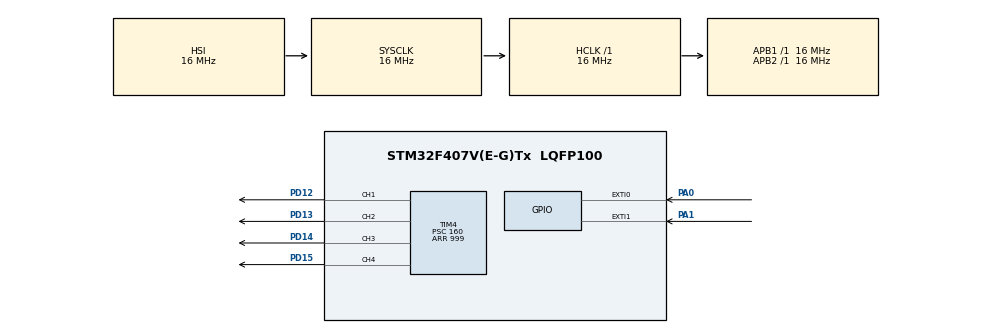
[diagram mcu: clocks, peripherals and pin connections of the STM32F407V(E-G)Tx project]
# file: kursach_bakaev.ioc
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Mcu.Family=STM32F4
Mcu.Name=STM32F407V(E-G)Tx
Mcu.Package=LQFP100
NVIC.PriorityGroup=NVIC_PRIORITYGROUP_4
PA0-WKUP.Signal=GPXTI0
PA1.Signal=GPXTI1
PA13.Mode=Serial_Wire
PA13.Signal=SYS_JTMS-SWDIO
PA14.Mode=Serial_Wire
PA14.Signal=SYS_JTCK-SWCLK
PD12.Signal=S_TIM4_CH1
PD13.Signal=S_TIM4_CH2
PD14.Signal=S_TIM4_CH3
PD15.Signal=S_TIM4_CH4
ProjectManager.HeapSize=0x200
ProjectManager.StackSize=0x400
ProjectManager.TargetToolchain=STM32CubeIDE
RCC.AHBFreq_Value=16000000
RCC.APB1Freq_Value=16000000
RCC.APB2Freq_Value=16000000
RCC.CortexFreq_Value=16000000
RCC.HSE_VALUE=25000000
RCC.HSI_VALUE=16000000
RCC.LSE_VALUE=32768
RCC.SYSCLKFreq_VALUE=16000000
RCC.VCOOutputFreq_Value=192000000
SH.S_TIM4_CH1.0=TIM4_CH1,PWM Generation1 CH1
SH.S_TIM4_CH2.0=TIM4_CH2,PWM Generation2 CH2
SH.S_TIM4_CH3.0=TIM4_CH3,PWM Generation3 CH3
SH.S_TIM4_CH4.0=TIM4_CH4,PWM Generation4 CH4
TIM4.Channel-PWM\ Generation1\ CH1=TIM_CHANNEL_1
TIM4.Channel-PWM\ Generation2\ CH2=TIM_CHANNEL_2
TIM4.Channel-PWM\ Generation3\ CH3=TIM_CHANNEL_3
TIM4.Channel-PWM\ Generation4\ CH4=TIM_CHANNEL_4
TIM4.Period=999
TIM4.Prescaler=160
VP_TIM4_VS_ClockSourceINT.Mode=Internal
board=custom

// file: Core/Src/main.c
/* USER CODE BEGIN Header */
/**
  ******************************************************************************
  * @file           : main.c
  * @brief          : Main program body
  ******************************************************************************
  * @attention
  *
  * Copyright (c) 2026 STMicroelectronics.
  * All rights reserved.
  *
  * This software is licensed under terms that can be found in the LICENSE file
  * in the root directory of this software component.
  * If no LICENSE file comes with this software, it is provided AS-IS.
  *
  ******************************************************************************
  */
/* USER CODE END Header */
#include "main.h"

/* USER CODE BEGIN Includes */
#include <stdlib.h>
/* USER CODE END Includes */

TIM_HandleTypeDef htim4;

/* USER CODE BEGIN PV */
typedef enum{
	STATE_OFF,
	STATE_BLINKING,
	STATE_PWD,
	STATE_RANDOM,
	STATE_CALC_ADD,
	STATE_CALC_SUB
}State_t;

volatile State_t current_state = STATE_OFF;
volatile uint8_t virtual_btn_next = 0; // Flag for next mode button
volatile uint8_t virtual_btn_calc = 0; // Flag for calculator mode button
volatile int8_t calc_num1 = 60;		   // First number
volatile int8_t calc_num2 = -70;	   // Second number
volatile int8_t calc_result = 0;	   // Result of calculation
/* USER CODE END PV */

void SystemClock_Config(void);
static void MX_GPIO_Init(void);
static void MX_TIM4_Init(void);
/* USER CODE BEGIN PFP */
void State_Machine(void);
void State_Off(void);
void State_Blinking(void);
void State_PWD(void);
void State_Random(void);
void State_Calc_Add(void);
void State_Calc_Sub(void);
/* USER CODE END PFP */

int main(void)
{

  /* MCU Configuration--------------------------------------------------------*/

  /* Reset of all peripherals, Initializes the Flash interface and the Systick. */
  HAL_Init();

  /* Configure the system clock */
  SystemClock_Config();

  /* Initialize all configured peripherals */
  MX_GPIO_Init();
  MX_TIM4_Init();
  /* USER CODE BEGIN 2 */

  // Start PWM for all 4 channels
  HAL_TIM_PWM_Start(&htim4, TIM_CHANNEL_1);
  HAL_TIM_PWM_Start(&htim4, TIM_CHANNEL_2);
  HAL_TIM_PWM_Start(&htim4, TIM_CHANNEL_3);
  HAL_TIM_PWM_Start(&htim4, TIM_CHANNEL_4);
  /* USER CODE END 2 */

  /* Infinite loop */
  while (1)
  {
	  State_Machine();
  }
}

void SystemClock_Config(void)
{
  RCC_OscInitTypeDef RCC_OscInitStruct = {0};
  RCC_ClkInitTypeDef RCC_ClkInitStruct = {0};

  /** Configure the main internal regulator output voltage
  */
  __HAL_RCC_PWR_CLK_ENABLE();
  __HAL_PWR_VOLTAGESCALING_CONFIG(PWR_REGULATOR_VOLTAGE_SCALE1);

  /** Initializes the RCC Oscillators according to the specified parameters
  * in the RCC_OscInitTypeDef structure.
  */
  RCC_OscInitStruct.OscillatorType = RCC_OSCILLATORTYPE_HSI;
  RCC_OscInitStruct.HSIState = RCC_HSI_ON;
  RCC_OscInitStruct.HSICalibrationValue = RCC_HSICALIBRATION_DEFAULT;
  RCC_OscInitStruct.PLL.PLLState = RCC_PLL_NONE;
  if (HAL_RCC_OscConfig(&RCC_OscInitStruct) != HAL_OK)
  {
    Error_Handler();
  }

  /** Initializes the CPU, AHB and APB buses clocks
  */
  RCC_ClkInitStruct.ClockType = RCC_CLOCKTYPE_HCLK|RCC_CLOCKTYPE_SYSCLK
                              |RCC_CLOCKTYPE_PCLK1|RCC_CLOCKTYPE_PCLK2;
  RCC_ClkInitStruct.SYSCLKSource = RCC_SYSCLKSOURCE_HSI;
  RCC_ClkInitStruct.AHBCLKDivider = RCC_SYSCLK_DIV1;
  RCC_ClkInitStruct.APB1CLKDivider = RCC_HCLK_DIV1;
  RCC_ClkInitStruct.APB2CLKDivider = RCC_HCLK_DIV1;

  if (HAL_RCC_ClockConfig(&RCC_ClkInitStruct, FLASH_LATENCY_0) != HAL_OK)
  {
    Error_Handler();
  }
}

static void MX_TIM4_Init(void)
{

  TIM_ClockConfigTypeDef sClockSourceConfig = {0};
  TIM_MasterConfigTypeDef sMasterConfig = {0};
  TIM_OC_InitTypeDef sConfigOC = {0};

  htim4.Instance = TIM4;
  htim4.Init.Prescaler = 160;
  htim4.Init.CounterMode = TIM_COUNTERMODE_UP;
  htim4.Init.Period = 999;
  htim4.Init.ClockDivision = TIM_CLOCKDIVISION_DIV1;
  htim4.Init.AutoReloadPreload = TIM_AUTORELOAD_PRELOAD_DISABLE;
  if (HAL_TIM_Base_Init(&htim4) != HAL_OK)
  {
    Error_Handler();
  }
  sClockSourceConfig.ClockSource = TIM_CLOCKSOURCE_INTERNAL;
  if (HAL_TIM_ConfigClockSource(&htim4, &sClockSourceConfig) != HAL_OK)
  {
    Error_Handler();
  }
  if (HAL_TIM_PWM_Init(&htim4) != HAL_OK)
  {
    Error_Handler();
  }
  sMasterConfig.MasterOutputTrigger = TIM_TRGO_RESET;
  sMasterConfig.MasterSlaveMode = TIM_MASTERSLAVEMODE_DISABLE;
  if (HAL_TIMEx_MasterConfigSynchronization(&htim4, &sMasterConfig) != HAL_OK)
  {
    Error_Handler();
  }
  sConfigOC.OCMode = TIM_OCMODE_PWM1;
  sConfigOC.Pulse = 0;
  sConfigOC.OCPolarity = TIM_OCPOLARITY_HIGH;
  sConfigOC.OCFastMode = TIM_OCFAST_DISABLE;
  if (HAL_TIM_PWM_ConfigChannel(&htim4, &sConfigOC, TIM_CHANNEL_1) != HAL_OK)
  {
    Error_Handler();
  }
  if (HAL_TIM_PWM_ConfigChannel(&htim4, &sConfigOC, TIM_CHANNEL_2) != HAL_OK)
  {
    Error_Handler();
  }
  if (HAL_TIM_PWM_ConfigChannel(&htim4, &sConfigOC, TIM_CHANNEL_3) != HAL_OK)
  {
    Error_Handler();
  }
  if (HAL_TIM_PWM_ConfigChannel(&htim4, &sConfigOC, TIM_CHANNEL_4) != HAL_OK)
  {
    Error_Handler();
  }
  HAL_TIM_MspPostInit(&htim4);

}

static void MX_GPIO_Init(void)
{
  GPIO_InitTypeDef GPIO_InitStruct = {0};

  /* GPIO Ports Clock Enable */
  __HAL_RCC_GPIOA_CLK_ENABLE();
  __HAL_RCC_GPIOD_CLK_ENABLE();

  /*Configure GPIO pins : PA0 PA1 */
  GPIO_InitStruct.Pin = GPIO_PIN_0|GPIO_PIN_1;
  GPIO_InitStruct.Mode = GPIO_MODE_IT_RISING;
  GPIO_InitStruct.Pull = GPIO_NOPULL;
  HAL_GPIO_Init(GPIOA, &GPIO_InitStruct);

}

/* USER CODE BEGIN 4 */

// set all LED
void Set_LEDs(uint32_t c1, uint32_t c2, uint32_t c3, uint32_t c4)
{
	__HAL_TIM_SET_COMPARE(&htim4, TIM_CHANNEL_1, c1);
	__HAL_TIM_SET_COMPARE(&htim4, TIM_CHANNEL_2, c2);
	__HAL_TIM_SET_COMPARE(&htim4, TIM_CHANNEL_3, c3);
	__HAL_TIM_SET_COMPARE(&htim4, TIM_CHANNEL_4, c4);
}

// state machine
void State_Machine(void)
{
	switch (current_state)
	{
	case STATE_OFF:
		State_Off();
		break;
	case STATE_BLINKING:
		State_Blinking();
		break;
	case STATE_PWD:
		State_PWD();
		break;
	case STATE_RANDOM:
		State_Random();
		break;
	case STATE_CALC_ADD:
		State_Calc_Add();
		break;
	case STATE_CALC_SUB:
		State_Calc_Sub();
		break;
	}
}

void State_Off(void)
{
	// Turn off all LED
	Set_LEDs(0, 0, 0, 0);
	HAL_Delay(500);

	if (virtual_btn_next == 1)
	{
		virtual_btn_next = 0;
		current_state = STATE_BLINKING;
	}

	if (virtual_btn_calc == 1)
	{
		virtual_btn_calc = 0;
		current_state = STATE_CALC_ADD;
	}
}

void State_Blinking(void)
{
	// Blinking
	Set_LEDs(1000, 1000, 0, 0); // green ogange
	HAL_Delay(500);

	Set_LEDs(0, 0, 1000, 1000); // red blue
	HAL_Delay(500);

	if (virtual_btn_next == 1)
	{
		virtual_btn_next = 0;
		current_state = STATE_PWD;
	}
}

void State_PWD(void)
{
	// PWD
	for (int16_t i = 0; i <= 1000; i += 20) {

		Set_LEDs(i, i, i, i);
		HAL_Delay(20);
		if (virtual_btn_next == 1) break;
	}

	for (int16_t i = 1000; i >= 0; i -= 20) {

		Set_LEDs(i, i, i, i);
		HAL_Delay(20);
		if (virtual_btn_next == 1) break;
	}

	if (virtual_btn_next == 1)
	{
		virtual_btn_next = 0;
		current_state = STATE_RANDOM;
	}
}

void State_Random(void)
{
	// Random LED
	uint32_t random_led = rand() % 4;
	uint32_t random_bright = (rand() % 801) + 200;

	Set_LEDs(0, 0, 0, 0);

	Set_LEDs(
		(random_led == 0) ? random_bright : 0,
		(random_led == 1) ? random_bright : 0,
		(random_led == 2) ? random_bright : 0,
		(random_led == 3) ? random_bright : 0
	);

	HAL_Delay(250);

	if (virtual_btn_next == 1)
	{
		virtual_btn_next = 0;
		current_state = STATE_OFF;
	}
}

void State_Calc_Add(void)
{
	// turn off all LED at 1500 ms
	Set_LEDs(0, 0, 0, 0);
	HAL_Delay(1500);

	// calculate sum in 16 - bit to prevent overflow
	int16_t safe_result = (int16_t)calc_num1 + (int16_t)calc_num2;

	// check overflow
	if (safe_result > 127 || safe_result < -127)
	{
		// blink all LED 5 times
		for (uint8_t i = 0; i < 5; i++)
		{
			Set_LEDs(1000, 1000, 1000, 1000);
			HAL_Delay(200);

			Set_LEDs(0, 0, 0, 0);
			HAL_Delay(200);
		}
		HAL_Delay(1000);
		// auto-transition to subtraction on error
		virtual_btn_calc = 0;
		current_state = STATE_CALC_SUB;
	}
	else
	{
		calc_result = calc_num1 + calc_num2;
		int8_t equation_steps[3] = { calc_num1, calc_num2, calc_result };

		for (uint8_t step = 0; step < 3; step++)
		{
			int8_t raw_val = equation_steps[step];
			uint8_t abs_val = abs(raw_val);
			uint8_t display_val = abs_val;

			// set 8th bit if the number is negative
			if (raw_val < 0) display_val |= 0x80;

			uint8_t lower_nibble = display_val & 0x0F;
			uint8_t upper_nibble = (display_val >> 4) & 0x0F;

			// show upper nibble if number is > 15
			if (display_val > 15)
			{
				Set_LEDs((upper_nibble & 0x08) ? 1000 : 0,
						 (upper_nibble & 0x04) ? 1000 : 0,
						 (upper_nibble & 0x02) ? 1000 : 0,
						 (upper_nibble & 0x01) ? 1000 : 0);
				HAL_Delay(3000);
				if (virtual_btn_calc == 1) break;

				Set_LEDs(0, 0, 0, 0);
				HAL_Delay(800);
			}

			// show lower nibble
			Set_LEDs((lower_nibble & 0x08) ? 1000 : 0,
					 (lower_nibble & 0x04) ? 1000 : 0,
					 (lower_nibble & 0x02) ? 1000 : 0,
					 (lower_nibble & 0x01) ? 1000 : 0);
			HAL_Delay(3000);
			if (virtual_btn_calc == 1) break;

			// animation +
			if (step == 0)
			{
				for (uint8_t b = 0; b < 3; b++)
				{
					Set_LEDs(1000, 0, 1000, 0);
					HAL_Delay(300);

					Set_LEDs(0, 1000, 0, 1000);
					HAL_Delay(300);
				}
				Set_LEDs(0, 0, 0, 0);
				HAL_Delay(600);
			}
			// animation =
			else if (step == 1)
			{
				for (uint8_t b = 0; b < 3; b++)
				{
					Set_LEDs(1000, 1000, 1000, 1000);
					HAL_Delay(300);

					Set_LEDs(0, 0, 0, 0);
					HAL_Delay(300);
				}
				HAL_Delay(600);
			}
			else
			{
				Set_LEDs(0, 0, 0, 0);
				HAL_Delay(4000);
			}
			if (virtual_btn_calc == 1) break;
		}
	}

	if (virtual_btn_calc == 1)
	{
		virtual_btn_calc = 0;
		current_state = STATE_CALC_SUB;
	}
}

void State_Calc_Sub(void)
{
	// turn off all LED at 1500 ms
	Set_LEDs(0, 0, 0, 0);
	HAL_Delay(1500);

	// calculate sum in 16 - bit to prevent overflow
	int16_t safe_result = (int16_t)calc_num1 - (int16_t)calc_num2;

	// check overflow
	if (safe_result > 127 || safe_result < -127)
	{
		// blink all LED 5 times
		for (uint8_t i = 0; i < 5; i++)
		{
			Set_LEDs(1000, 1000, 1000, 1000);
			HAL_Delay(200);
			Set_LEDs(0, 0, 0, 0);
			HAL_Delay(200);
		}
		HAL_Delay(1000);
		// auto-transition to State_off
		virtual_btn_calc = 0;
		current_state = STATE_OFF;
	}
	else
	{
		calc_result = calc_num1 - calc_num2;
		int8_t equation_steps[3] = { calc_num1, calc_num2, calc_result };

		for (uint8_t step = 0; step < 3; step++)
		{
			int8_t raw_val = equation_steps[step];
			uint8_t abs_val = abs(raw_val);
			uint8_t display_val = abs_val;

			// Set 8th bit if the number is negative
			if (raw_val < 0) display_val |= 0x80;

			uint8_t lower_nibble = display_val & 0x0F;
			uint8_t upper_nibble = (display_val >> 4) & 0x0F;

			// show upper nibble if number is > 15
			if (display_val > 15)
			{
				Set_LEDs((upper_nibble & 0x08) ? 1000 : 0,
						 (upper_nibble & 0x04) ? 1000 : 0,
						 (upper_nibble & 0x02) ? 1000 : 0,
						 (upper_nibble & 0x01) ? 1000 : 0);

				HAL_Delay(3000);
				if (virtual_btn_calc == 1) break;

				Set_LEDs(0, 0, 0, 0);
				HAL_Delay(800);
			}

			// show lower nibble
			Set_LEDs((lower_nibble & 0x08) ? 1000 : 0,
					 (lower_nibble & 0x04) ? 1000 : 0,
					 (lower_nibble & 0x02) ? 1000 : 0,
					 (lower_nibble & 0x01) ? 1000 : 0);
			HAL_Delay(3000);
			if (virtual_btn_calc == 1) break;

			// animation -
			if (step == 0)
			{
				for (uint8_t b = 0; b < 3; b++)
				{
					Set_LEDs(1000, 0, 1000, 0);
					HAL_Delay(300);
					Set_LEDs(0, 0, 0, 0);
					HAL_Delay(300);
				}
				HAL_Delay(600);
			}
			// animation =
			else if (step == 1)
			{
				for (uint8_t b = 0; b < 3; b++)
				{
					Set_LEDs(1000, 1000, 1000, 1000);
					HAL_Delay(300);

					Set_LEDs(0, 0, 0, 0);
					HAL_Delay(300);
				}
				HAL_Delay(600);
			}
			else
			{
				Set_LEDs(0, 0, 0, 0);
				HAL_Delay(4000);
			}
			if (virtual_btn_calc == 1) break;
		}
	}

	if (virtual_btn_calc == 1)
	{
		virtual_btn_calc = 0;
		current_state = STATE_OFF;
	}
}

/* USER CODE END 4 */

void Error_Handler(void)
{
  __disable_irq();
  while (1)
  {
  }
}
